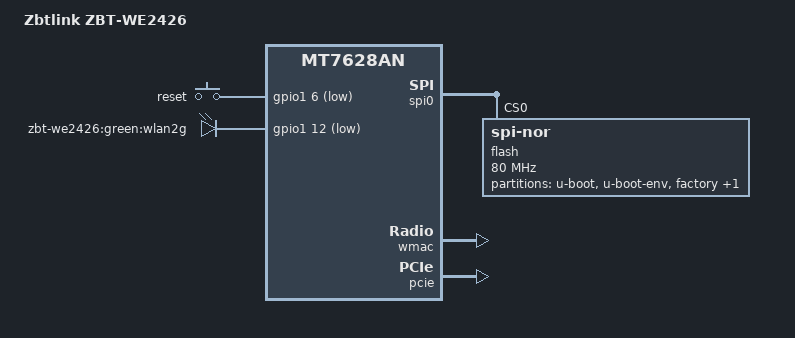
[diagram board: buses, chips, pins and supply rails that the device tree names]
// SPDX-License-Identifier: GPL-2.0-or-later OR MIT
/dts-v1/;

#include <dt-bindings/input/input.h>
#include <dt-bindings/gpio/gpio.h>

#include "mt7628an.dtsi"

/ {
	compatible = "zbtlink,zbt-we2426", "mediatek,mt7628an-soc";
	model = "Zbtlink ZBT-WE2426";

	aliases {
		label-mac-device = &ethernet;
	};

	chosen {
		bootargs = "console=ttyS0,115200";
	};

	keys {
		compatible = "gpio-keys";

		reset {
			label = "reset";
			gpios = <&gpio1 6 GPIO_ACTIVE_LOW>;
			linux,code = <KEY_RESTART>;
		};
	};

	leds {
		compatible = "gpio-leds";

		wlan2g {
			label = "zbt-we2426:green:wlan2g";
			gpios = <&gpio1 12 GPIO_ACTIVE_LOW>;
			linux,default-trigger = "phy0tpt";
		};
	};
};

&pinctrl {
	state_default: pinctrl0 {
		gpio {
			ralink,group = "refclk", "wled_an";
			ralink,function = "gpio";
		};
	};
};

&spi0 {
	status = "okay";

	flash@0 {
		compatible = "jedec,spi-nor";
		reg = <0>;
		spi-max-frequency = <80000000>;
		m25p,fast-read;

		partitions {
			compatible = "fixed-partitions";
			#address-cells = <1>;
			#size-cells = <1>;

			partition@0 {
				label = "u-boot";
				reg = <0x0 0x30000>;
				read-only;
			};

			partition@30000 {
				label = "u-boot-env";
				reg = <0x30000 0x10000>;
				read-only;
			};

			factory: partition@40000 {
				label = "factory";
				reg = <0x40000 0x10000>;
				read-only;
			};

			partition@50000 {
				compatible = "denx,uimage";
				label = "firmware";
				reg = <0x50000 0xfb0000>;
			};
		};
	};
};

&wmac {
	status = "okay";
};

&ethernet {
	mtd-mac-address = <&factory 0x28>;
	mediatek,portmap = "llllw";
};

&pcie {
	status = "okay";
};

&pcie0 {
	wifi@0,0 {
		reg = <0x0000 0 0 0 0>;
		mediatek,mtd-eeprom = <&factory 0x8000>;
		ieee80211-freq-limit = <5000000 6000000>;

		led {
			led-sources = <2>;
			led-active-low;
		};
	};
};
